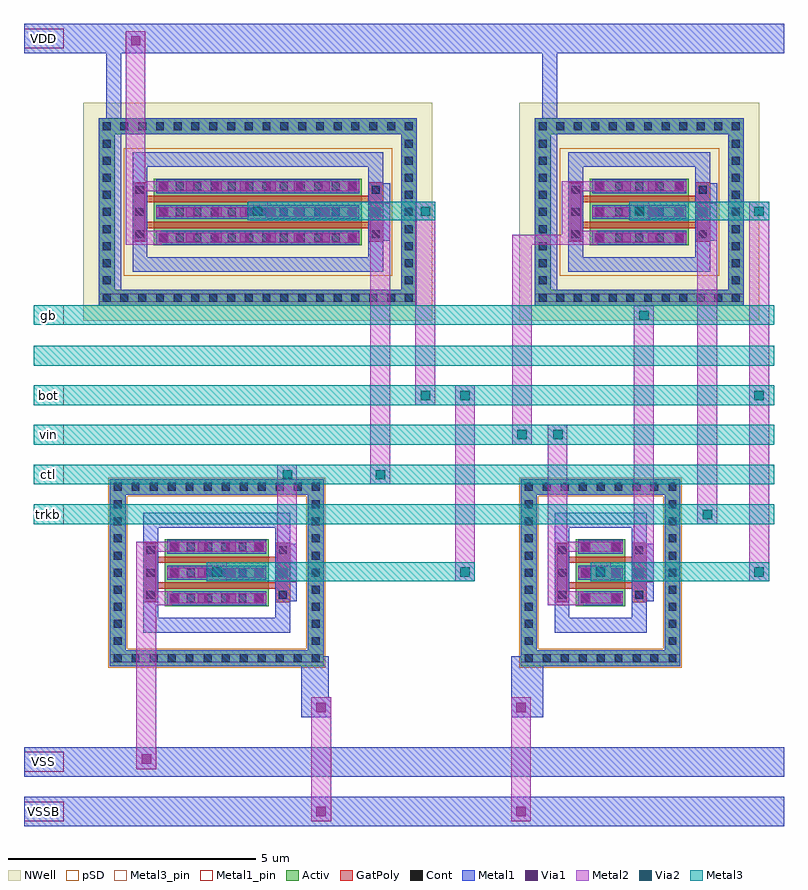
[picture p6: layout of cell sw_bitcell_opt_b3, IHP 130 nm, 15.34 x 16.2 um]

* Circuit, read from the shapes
.subckt sw_bitcell_opt_b3 VDD VSS VSSB bot ctl gb trkb vin
XM1 bot ctl VSS VSSB sg13_lv_nmos w=2.1u l=0.13u m=2
XM2 bot gb vin VSSB sg13_lv_nmos w=1u l=0.13u m=2
XM3 bot ctl VDD VDD sg13_lv_pmos w=4.2u l=0.13u m=2
XM4 bot trkb vin VDD sg13_lv_pmos w=2u l=0.13u m=2
.ends

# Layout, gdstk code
import gdstk
lib = gdstk.Library(unit=1e-6, precision=1e-09)
def R(c, l, rs):  # rectangles x0, y0, x1, y1
    for r in rs: c.add(gdstk.rectangle(r[:2], r[2:], *l))
def A(c, l, x, y, w, h, nx, ny, dx, dy):  # array of equal rectangles
    R(c, l, [(x+i*dx, y+j*dy, x+i*dx+w, y+j*dy+h) for i in range(nx) for j in range(ny)])
def P(c, l, *ps):  # polygons
    for p in ps: c.add(gdstk.Polygon(p, *l))
Activ = (1, 0)
GatPoly = (5, 0)
Cont = (6, 0)
Metal1 = (8, 0)
Metal1_pin = (8, 2)
Metal2 = (10, 0)
pSD = (14, 0)
Via1 = (19, 0)
Via2 = (29, 0)
Metal3 = (30, 0)
Metal3_pin = (30, 2)
NWell = (31, 0)

rfnmos_9 = lib.new_cell('rfnmos$9')
R(rfnmos_9, Activ, [(1.14,1.245,3.24,2.595)])
P(rfnmos_9, Activ, [(0.03,0.03),(0.03,3.49),(0.35,3.49),(0.35,0.35),(4.03,0.35),(4.03,3.49),(0.03,3.49),(0.03,3.81),(4.35,3.81),(4.35,0.03)])
R(rfnmos_9, GatPoly, [(0.71,1.32,1.01,2.52), (3.37,1.32,3.67,2.52), (1.01,1.595,3.37,1.725), (1.01,2.115,3.37,2.245)])
A(rfnmos_9, Cont, 0.47, 0.11, 0.16, 0.16, 3, 2, 0.365, 3.46)
A(rfnmos_9, Cont, 1.56, 0.11, 0.16, 0.16, 4, 2, 0.365, 3.46)
A(rfnmos_9, Cont, 3.015, 0.11, 0.16, 0.16, 4, 2, 0.365, 3.46)
A(rfnmos_9, Cont, 0.11, 0.46, 0.16, 0.16, 1, 9, 0, 0.345)
A(rfnmos_9, Cont, 4.11, 0.46, 0.16, 0.16, 1, 9, 0, 0.345)
A(rfnmos_9, Cont, 1.24, 1.32, 0.16, 0.16, 1, 3, 0, 0.52)
A(rfnmos_9, Cont, 1.585, 1.32, 0.16, 0.16, 1, 3, 0, 0.52)
A(rfnmos_9, Cont, 1.935, 1.32, 0.16, 0.16, 1, 3, 0, 0.52)
A(rfnmos_9, Cont, 2.28, 1.32, 0.16, 0.16, 3, 3, 0.35, 0.52)
A(rfnmos_9, Cont, 0.78, 1.39, 0.16, 0.16, 1, 3, 0, 0.45)
A(rfnmos_9, Cont, 3.44, 1.39, 0.16, 0.16, 1, 3, 0, 0.45)
R(rfnmos_9, Cont, [(0.11,0.11,0.27,0.27), (0.11,3.57,0.27,3.73)])
A(rfnmos_9, Metal1, 1.19, 1.26, 2, 0.28, 1, 3, 0, 0.52)
R(rfnmos_9, Metal1, [(0.03,0.03,4.35,0.35), (0.03,0.35,0.35,3.49), (4.03,0.35,4.35,3.49), (0.76,1.34,0.96,2.5), (3.42,1.34,3.62,2.5), (0.03,3.49,4.35,3.81)])
P(rfnmos_9, Metal1, [(0.71,0.71),(0.71,2.83),(1.01,2.83),(1.01,1.01),(3.37,1.01),(3.37,2.83),(0.71,2.83),(0.71,3.13),(3.67,3.13),(3.67,0.71)])
R(rfnmos_9, Metal1_pin, [(0.03,0.11,4.35,0.27), (0.03,0.11,4.35,0.27), (1.19,1.26,3.19,1.54), (1.19,1.26,3.19,1.54), (0.76,1.34,0.96,2.5), (0.76,1.34,0.96,2.5), (1.19,1.78,3.19,2.06), (1.19,1.78,3.19,2.06)])
A(rfnmos_9, Metal2, 1.19, 1.3, 2, 0.2, 1, 3, 0, 0.52)
P(rfnmos_9, pSD, [(0,0),(0,3.46),(0.38,3.46),(0.38,0.38),(4,0.38),(4,3.46),(0,3.46),(0,3.84),(4.38,3.84),(4.38,0)])
A(rfnmos_9, Via1, 1.24, 1.305, 0.19, 0.19, 4, 3, 0.57, 0.52)
rfnmos_9.add(gdstk.Label('S', (2.19,1.42), layer=63, texttype=0))
rfnmos_9.add(gdstk.Label('D', (2.19,1.94), layer=63, texttype=0))
rfnmos_9.add(gdstk.Label('G', (0.86,1.92), layer=63, texttype=0))
rfnmos_9.add(gdstk.Label('TIE', (2.19,0.19), layer=63, texttype=0))
rfnmos_9.add(gdstk.Label('rfnmos', (2.19,3.65), layer=63, texttype=0))

rfpmos_8 = lib.new_cell('rfpmos$8')
R(rfpmos_8, Activ, [(1.42,1.525,5.62,2.875)])
P(rfpmos_8, Activ, [(0.31,0.31),(0.31,3.77),(0.63,3.77),(0.63,0.63),(6.41,0.63),(6.41,3.77),(0.31,3.77),(0.31,4.09),(6.73,4.09),(6.73,0.31)])
R(rfpmos_8, GatPoly, [(0.99,1.6,1.29,2.8), (5.75,1.6,6.05,2.8), (1.29,1.875,5.75,2.005), (1.29,2.395,5.75,2.525)])
A(rfpmos_8, Cont, 0.745, 0.39, 0.16, 0.16, 4, 2, 0.36, 3.46)
A(rfpmos_8, Cont, 2.18, 0.39, 0.16, 0.16, 4, 2, 0.36, 3.46)
A(rfpmos_8, Cont, 3.615, 0.39, 0.16, 0.16, 4, 2, 0.36, 3.46)
A(rfpmos_8, Cont, 5.05, 0.39, 0.16, 0.16, 5, 2, 0.36, 3.46)
A(rfpmos_8, Cont, 0.39, 0.74, 0.16, 0.16, 1, 9, 0, 0.345)
A(rfpmos_8, Cont, 6.49, 0.74, 0.16, 0.16, 1, 9, 0, 0.345)
A(rfpmos_8, Cont, 1.52, 1.6, 0.16, 0.16, 1, 3, 0, 0.52)
A(rfpmos_8, Cont, 1.865, 1.6, 0.16, 0.16, 5, 3, 0.35, 0.52)
A(rfpmos_8, Cont, 3.61, 1.6, 0.16, 0.16, 6, 3, 0.35, 0.52)
A(rfpmos_8, Cont, 1.06, 1.67, 0.16, 0.16, 1, 3, 0, 0.45)
A(rfpmos_8, Cont, 5.82, 1.67, 0.16, 0.16, 1, 3, 0, 0.45)
R(rfpmos_8, Cont, [(0.39,0.39,0.55,0.55), (0.39,3.85,0.55,4.01)])
A(rfpmos_8, Metal1, 1.47, 1.54, 4.1, 0.28, 1, 3, 0, 0.52)
R(rfpmos_8, Metal1, [(0.31,0.31,6.73,0.63), (0.31,0.63,0.63,3.77), (6.41,0.63,6.73,3.77), (1.04,1.62,1.24,2.78), (5.8,1.62,6,2.78), (0.31,3.77,6.73,4.09)])
P(rfpmos_8, Metal1, [(0.99,0.99),(0.99,3.11),(1.29,3.11),(1.29,1.29),(5.75,1.29),(5.75,3.11),(0.99,3.11),(0.99,3.41),(6.05,3.41),(6.05,0.99)])
R(rfpmos_8, Metal1_pin, [(0.31,0.39,6.73,0.55), (0.31,0.39,6.73,0.55), (1.47,1.54,5.57,1.82), (1.47,1.54,5.57,1.82), (1.04,1.62,1.24,2.78), (1.04,1.62,1.24,2.78), (1.47,2.06,5.57,2.34), (1.47,2.06,5.57,2.34)])
A(rfpmos_8, Metal2, 1.47, 1.58, 4.1, 0.2, 1, 3, 0, 0.52)
R(rfpmos_8, pSD, [(0.81,0.91,6.23,3.49)])
A(rfpmos_8, Via1, 1.52, 1.585, 0.19, 0.19, 1, 3, 0, 0.52)
A(rfpmos_8, Via1, 2.06, 1.585, 0.19, 0.19, 7, 3, 0.545, 0.52)
R(rfpmos_8, NWell, [(0,0,7.04,4.4)])
rfpmos_8.add(gdstk.Label('S', (3.52,1.7), layer=63, texttype=0))
rfpmos_8.add(gdstk.Label('D', (3.52,2.22), layer=63, texttype=0))
rfpmos_8.add(gdstk.Label('G', (1.14,2.2), layer=63, texttype=0))
rfpmos_8.add(gdstk.Label('TIE', (3.52,0.47), layer=63, texttype=0))
rfpmos_8.add(gdstk.Label('rfpmos', (3.52,3.93), layer=63, texttype=0))

rfnmos_1_5 = lib.new_cell('rfnmos$1$5')
R(rfnmos_1_5, Activ, [(1.14,1.245,2.14,2.595)])
P(rfnmos_1_5, Activ, [(0.03,0.03),(0.03,3.49),(0.35,3.49),(0.35,0.35),(2.93,0.35),(2.93,3.49),(0.03,3.49),(0.03,3.81),(3.25,3.81),(3.25,0.03)])
R(rfnmos_1_5, GatPoly, [(0.71,1.32,1.01,2.52), (2.27,1.32,2.57,2.52), (1.01,1.595,2.27,1.725), (1.01,2.115,2.27,2.245)])
A(rfnmos_1_5, Cont, 0.11, 0.46, 0.16, 0.16, 1, 9, 0, 0.345)
A(rfnmos_1_5, Cont, 3.01, 0.46, 0.16, 0.16, 1, 9, 0, 0.345)
A(rfnmos_1_5, Cont, 1.24, 1.32, 0.16, 0.16, 1, 3, 0, 0.52)
A(rfnmos_1_5, Cont, 1.88, 1.32, 0.16, 0.16, 1, 3, 0, 0.52)
A(rfnmos_1_5, Cont, 0.78, 1.39, 0.16, 0.16, 1, 3, 0, 0.45)
A(rfnmos_1_5, Cont, 2.34, 1.39, 0.16, 0.16, 1, 3, 0, 0.45)
R(rfnmos_1_5, Cont, [(0.11,0.11,0.27,0.27), (0.47,0.11,0.63,0.27), (0.835,0.11,0.995,0.27), (1.195,0.11,1.355,0.27), (1.56,0.11,1.72,0.27), (1.92,0.11,2.08,0.27), (2.285,0.11,2.445,0.27), (2.645,0.11,2.805,0.27), (3.01,0.11,3.17,0.27), (0.11,3.57,0.27,3.73), (0.47,3.57,0.63,3.73), (0.835,3.57,0.995,3.73), (1.195,3.57,1.355,3.73), (1.56,3.57,1.72,3.73), (1.92,3.57,2.08,3.73), (2.285,3.57,2.445,3.73), (2.645,3.57,2.805,3.73), (3.01,3.57,3.17,3.73)])
A(rfnmos_1_5, Metal1, 1.19, 1.26, 0.9, 0.28, 1, 3, 0, 0.52)
R(rfnmos_1_5, Metal1, [(0.03,0.03,3.25,0.35), (0.03,0.35,0.35,3.49), (2.93,0.35,3.25,3.49), (0.76,1.34,0.96,2.5), (2.32,1.34,2.52,2.5), (0.03,3.49,3.25,3.81)])
P(rfnmos_1_5, Metal1, [(0.71,0.71),(0.71,2.83),(1.01,2.83),(1.01,1.01),(2.27,1.01),(2.27,2.83),(0.71,2.83),(0.71,3.13),(2.57,3.13),(2.57,0.71)])
R(rfnmos_1_5, Metal1_pin, [(0.03,0.11,3.25,0.27), (0.03,0.11,3.25,0.27), (1.19,1.26,2.09,1.54), (1.19,1.26,2.09,1.54), (0.76,1.34,0.96,2.5), (0.76,1.34,0.96,2.5), (1.19,1.78,2.09,2.06), (1.19,1.78,2.09,2.06)])
A(rfnmos_1_5, Metal2, 1.19, 1.3, 0.9, 0.2, 1, 3, 0, 0.52)
P(rfnmos_1_5, pSD, [(0,0),(0,3.46),(0.38,3.46),(0.38,0.38),(2.9,0.38),(2.9,3.46),(0,3.46),(0,3.84),(3.28,3.84),(3.28,0)])
A(rfnmos_1_5, Via1, 1.24, 1.305, 0.19, 0.19, 1, 3, 0, 0.52)
A(rfnmos_1_5, Via1, 1.85, 1.305, 0.19, 0.19, 1, 3, 0, 0.52)
rfnmos_1_5.add(gdstk.Label('S', (1.64,1.42), layer=63, texttype=0))
rfnmos_1_5.add(gdstk.Label('D', (1.64,1.94), layer=63, texttype=0))
rfnmos_1_5.add(gdstk.Label('G', (0.86,1.92), layer=63, texttype=0))
rfnmos_1_5.add(gdstk.Label('TIE', (1.64,0.19), layer=63, texttype=0))
rfnmos_1_5.add(gdstk.Label('rfnmos', (1.64,3.65), layer=63, texttype=0))

rfpmos_1_5 = lib.new_cell('rfpmos$1$5')
R(rfpmos_1_5, Activ, [(1.42,1.525,3.42,2.875)])
P(rfpmos_1_5, Activ, [(0.31,0.31),(0.31,3.77),(0.63,3.77),(0.63,0.63),(4.21,0.63),(4.21,3.77),(0.31,3.77),(0.31,4.09),(4.53,4.09),(4.53,0.31)])
R(rfpmos_1_5, GatPoly, [(0.99,1.6,1.29,2.8), (3.55,1.6,3.85,2.8), (1.29,1.875,3.55,2.005), (1.29,2.395,3.55,2.525)])
A(rfpmos_1_5, Cont, 0.74, 0.39, 0.16, 0.16, 11, 2, 0.355, 3.46)
A(rfpmos_1_5, Cont, 0.39, 0.74, 0.16, 0.16, 1, 9, 0, 0.345)
A(rfpmos_1_5, Cont, 4.29, 0.74, 0.16, 0.16, 1, 9, 0, 0.345)
A(rfpmos_1_5, Cont, 1.52, 1.6, 0.16, 0.16, 5, 3, 0.41, 0.52)
A(rfpmos_1_5, Cont, 1.06, 1.67, 0.16, 0.16, 1, 3, 0, 0.45)
A(rfpmos_1_5, Cont, 3.62, 1.67, 0.16, 0.16, 1, 3, 0, 0.45)
R(rfpmos_1_5, Cont, [(0.39,0.39,0.55,0.55), (0.39,3.85,0.55,4.01)])
A(rfpmos_1_5, Metal1, 1.47, 1.54, 1.9, 0.28, 1, 3, 0, 0.52)
R(rfpmos_1_5, Metal1, [(0.31,0.31,4.53,0.63), (0.31,0.63,0.63,3.77), (4.21,0.63,4.53,3.77), (1.04,1.62,1.24,2.78), (3.6,1.62,3.8,2.78), (0.31,3.77,4.53,4.09)])
P(rfpmos_1_5, Metal1, [(0.99,0.99),(0.99,3.11),(1.29,3.11),(1.29,1.29),(3.55,1.29),(3.55,3.11),(0.99,3.11),(0.99,3.41),(3.85,3.41),(3.85,0.99)])
R(rfpmos_1_5, Metal1_pin, [(0.31,0.39,4.53,0.55), (0.31,0.39,4.53,0.55), (1.47,1.54,3.37,1.82), (1.47,1.54,3.37,1.82), (1.04,1.62,1.24,2.78), (1.04,1.62,1.24,2.78), (1.47,2.06,3.37,2.34), (1.47,2.06,3.37,2.34)])
A(rfpmos_1_5, Metal2, 1.47, 1.58, 1.9, 0.2, 1, 3, 0, 0.52)
R(rfpmos_1_5, pSD, [(0.81,0.91,4.03,3.49)])
A(rfpmos_1_5, Via1, 1.52, 1.585, 0.19, 0.19, 3, 3, 0.535, 0.52)
A(rfpmos_1_5, Via1, 3.13, 1.585, 0.19, 0.19, 1, 3, 0, 0.52)
R(rfpmos_1_5, NWell, [(0,0,4.84,4.4)])
rfpmos_1_5.add(gdstk.Label('S', (2.42,1.7), layer=63, texttype=0))
rfpmos_1_5.add(gdstk.Label('D', (2.42,2.22), layer=63, texttype=0))
rfpmos_1_5.add(gdstk.Label('G', (1.14,2.2), layer=63, texttype=0))
rfpmos_1_5.add(gdstk.Label('TIE', (2.42,0.47), layer=63, texttype=0))
rfpmos_1_5.add(gdstk.Label('rfpmos', (2.42,3.93), layer=63, texttype=0))

sw_bitcell_opt_b3 = lib.new_cell('sw_bitcell_opt_b3')
R(sw_bitcell_opt_b3, Metal1, [(-1.2,-3.2,14.14,-2.6), (4.6,-3.1,5,-2.7), (8.63,-3.1,9.03,-2.7), (-1.2,-2.2,14.14,-1.6), (1.07,-2.05,1.47,-1.65), (4.4,-1,4.95,0.23), (4.6,-1,5,-0.6), (8.63,-1,9.03,-0.6), (8.63,-1,9.28,0.23), (3.91,1.34,4.31,2.5), (11.11,1.34,11.51,2.5), (0.46,7.44,0.76,12.4), (9.26,7.44,9.56,12.4), (5.79,8.62,6.19,9.78), (12.39,8.62,12.79,9.78), (-1.2,12.4,14.14,13), (0.85,12.45,1.25,12.85)])
R(sw_bitcell_opt_b3, Metal1_pin, [(-1.2,-3.1,-0.4,-2.7), (-1.2,-2.1,-0.4,-1.7), (-1.2,12.5,-0.4,12.9)])
R(sw_bitcell_opt_b3, Metal2, [(4.6,-3.1,5,-2.7), (8.63,-3.1,9.03,-2.7), (4.6,-2.9,5,-0.8), (8.63,-2.9,9.03,-0.8), (1.07,-2.05,1.47,-1.65), (1.07,-1.9,1.47,1.46), (4.6,-1,5,-0.6), (8.63,-1,9.03,-0.6), (1.07,1.26,1.79,1.54), (1.07,1.26,1.47,2.54), (9.37,1.26,10.09,1.54), (9.37,1.26,9.77,2.54), (3.91,1.73,4.31,2.11), (11.11,1.73,11.51,2.11), (2.49,1.75,2.89,2.13), (7.5,1.75,7.9,2.13), (10.24,1.75,10.64,2.13), (13.44,1.75,13.84,2.13), (3.91,1.92,4.31,3.9), (11.11,1.92,11.51,7.12), (7.5,1.94,7.9,5.5), (13.44,1.94,13.84,5.5), (1.07,2.34,1.79,2.54), (9.37,2.34,10.09,2.54), (9.37,2.4,9.77,4.9), (12.39,2.9,12.79,3.3), (12.39,3.1,12.79,9.2), (3.91,3.7,4.31,4.1), (5.79,3.7,6.19,4.1), (5.79,3.9,6.19,9.2), (8.65,4.5,9.05,4.9), (8.65,4.5,9.05,8.74), (9.37,4.5,9.77,4.9), (6.7,5.3,7.1,5.7), (7.5,5.3,7.9,5.7), (13.44,5.3,13.84,5.7), (13.44,5.3,13.84,5.7), (6.7,5.5,7.1,9.22), (13.44,5.5,13.84,9.22), (11.11,6.93,11.51,7.31), (0.85,8.54,1.57,8.82), (0.85,8.54,1.25,9.82), (8.65,8.54,10.05,8.74), (9.65,8.54,10.37,8.82), (9.65,8.54,10.05,9.82), (5.79,9.01,6.19,9.39), (12.39,9.01,12.79,9.39), (3.32,9.03,3.72,9.41), (6.7,9.03,7.1,9.41), (11.02,9.03,11.42,9.41), (13.44,9.03,13.84,9.41), (0.85,9.62,1.57,9.82), (0.85,9.62,1.25,12.7), (9.65,9.62,10.37,9.82), (0.85,12.45,1.25,12.85)])
R(sw_bitcell_opt_b3, Via1, [(4.7,-3,4.89,-2.81), (8.74,-3,8.93,-2.81), (1.18,-1.94,1.37,-1.75), (4.7,-0.9,4.89,-0.71), (8.74,-0.9,8.93,-0.71), (3.92,1.82,4.11,2.01), (11.12,1.82,11.31,2.01), (5.81,9.1,6,9.29), (12.4,9.1,12.59,9.29), (0.96,12.56,1.15,12.75)])
R(sw_bitcell_opt_b3, Via2, [(2.6,1.84,2.79,2.03), (7.61,1.84,7.8,2.03), (10.34,1.84,10.53,2.03), (13.54,1.84,13.73,2.03), (12.5,3,12.69,3.19), (4.02,3.8,4.21,3.99), (5.9,3.8,6.09,3.99), (8.76,4.61,8.95,4.8), (9.48,4.61,9.67,4.8), (6.81,5.4,7,5.59), (7.61,5.4,7.8,5.59), (13.54,5.4,13.73,5.59), (13.54,5.4,13.73,5.59), (11.22,7.02,11.41,7.21), (3.42,9.12,3.61,9.31), (6.81,9.12,7,9.31), (11.13,9.12,11.32,9.31), (13.54,9.12,13.73,9.31)])
A(sw_bitcell_opt_b3, Metal3, -1, 2.9, 14.94, 0.4, 1, 5, 0, 0.8)
R(sw_bitcell_opt_b3, Metal3, [(2.49,1.75,7.9,2.13), (2.49,1.75,2.89,2.13), (7.5,1.75,7.9,2.13), (10.24,1.75,10.64,2.13), (10.24,1.75,13.84,2.13), (13.44,1.75,13.84,2.13), (12.39,2.9,12.79,3.3), (3.91,3.7,4.31,4.1), (5.79,3.7,6.19,4.1), (8.65,4.5,9.05,4.9), (9.37,4.5,9.77,4.9), (6.7,5.3,7.1,5.7), (7.5,5.3,7.9,5.7), (13.44,5.3,13.84,5.7), (13.44,5.3,13.84,5.7), (-1,6.92,13.94,7.32), (11.11,6.93,11.51,7.31), (3.32,9.03,3.72,9.41), (3.32,9.03,7.1,9.41), (6.7,9.03,7.1,9.41), (11.02,9.03,11.42,9.41), (11.02,9.03,13.84,9.41), (13.44,9.03,13.84,9.41)])
A(sw_bitcell_opt_b3, Metal3_pin, -1, 2.9, 0.6, 0.4, 1, 4, 0, 0.8)
R(sw_bitcell_opt_b3, Metal3_pin, [(-1,6.92,-0.4,7.32)])
sw_bitcell_opt_b3.add(gdstk.Reference(rfnmos_9, (0.5,0)))
sw_bitcell_opt_b3.add(gdstk.Reference(rfpmos_8, (0,7)))
sw_bitcell_opt_b3.add(gdstk.Reference(rfnmos_1_5, (8.8,0)))
sw_bitcell_opt_b3.add(gdstk.Reference(rfpmos_1_5, (8.8,7)))
sw_bitcell_opt_b3.add(gdstk.Label('VSS', (-0.8,-1.9), layer=8, texttype=25))
sw_bitcell_opt_b3.add(gdstk.Label('VSSB', (-0.8,-2.9), layer=8, texttype=25))
sw_bitcell_opt_b3.add(gdstk.Label('VDD', (-0.8,12.7), layer=8, texttype=25))
sw_bitcell_opt_b3.add(gdstk.Label('bot', (-0.7,5.5), layer=30, texttype=25))
sw_bitcell_opt_b3.add(gdstk.Label('vin', (-0.7,4.7), layer=30, texttype=25))
sw_bitcell_opt_b3.add(gdstk.Label('ctl', (-0.7,3.9), layer=30, texttype=25))
sw_bitcell_opt_b3.add(gdstk.Label('trkb', (-0.7,3.1), layer=30, texttype=25))
sw_bitcell_opt_b3.add(gdstk.Label('gb', (-0.7,7.12), layer=30, texttype=25))

lib.write_gds('sw_bitcell_opt_b3.gds')
